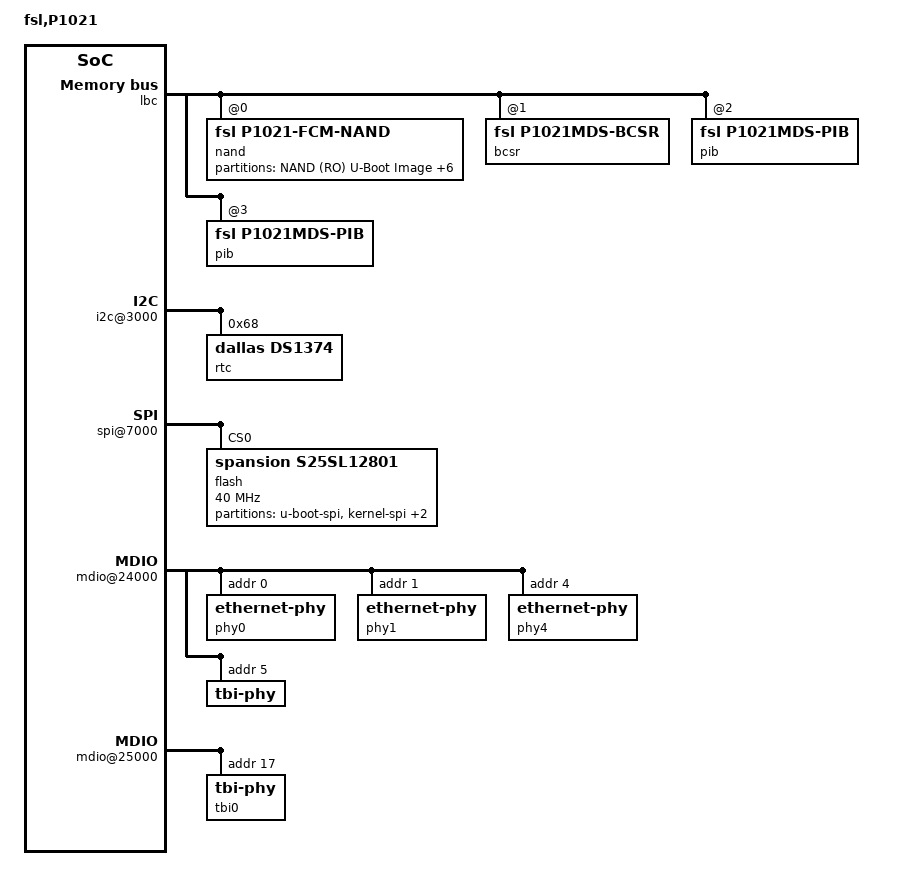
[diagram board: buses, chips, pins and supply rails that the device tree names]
/*
 * P1021 MDS Device Tree Source
 *
 * Copyright 2010,2012 Freescale Semiconductor Inc.
 *
 * This program is free software; you can redistribute it and/or modify it
 * under the terms of the GNU General Public License as published by the
 * Free Software Foundation; either version 2 of the License, or (at your
 * option) any later version.
 */

/include/ "fsl/p1021si-pre.dtsi"
/ {
	model = "fsl,P1021";
	compatible = "fsl,P1021MDS";

	aliases {
		ethernet3 = &enet3;
		ethernet4 = &enet4;
	};

	memory {
		device_type = "memory";
	};

	lbc: localbus@ffe05000 {
		reg = <0x0 0xffe05000 0x0 0x1000>;

		/* NAND Flash, BCSR, PMC0/1*/
		ranges = <0x0 0x0 0x0 0xfc000000 0x02000000
			  0x1 0x0 0x0 0xf8000000 0x00008000
			  0x2 0x0 0x0 0xf8010000 0x00020000
			  0x3 0x0 0x0 0xf8020000 0x00020000>;

		nand@0,0 {
			#address-cells = <1>;
			#size-cells = <1>;
			compatible = "fsl,p1021-fcm-nand",
				     "fsl,elbc-fcm-nand";
			reg = <0x0 0x0 0x40000>;

			partition@0 {
				/* This location must not be altered  */
				/* 1MB for u-boot Bootloader Image */
				reg = <0x0 0x00100000>;
				label = "NAND (RO) U-Boot Image";
				read-only;
			};

			partition@100000 {
				/* 1MB for DTB Image */
				reg = <0x00100000 0x00100000>;
				label = "NAND (RO) DTB Image";
				read-only;
			};

			partition@200000 {
				/* 4MB for Linux Kernel Image */
				reg = <0x00200000 0x00400000>;
				label = "NAND (RO) Linux Kernel Image";
				read-only;
			};

			partition@600000 {
				/* 5MB for Compressed Root file System Image */
				reg = <0x00600000 0x00500000>;
				label = "NAND (RO) Compressed RFS Image";
				read-only;
			};

			partition@b00000 {
				/* 6MB for JFFS2 based Root file System */
				reg = <0x00a00000 0x00600000>;
				label = "NAND (RW) JFFS2 Root File System";
			};

			partition@1100000 {
				/* 14MB for JFFS2 based Root file System */
				reg = <0x01100000 0x00e00000>;
				label = "NAND (RW) Writable User area";
			};

			partition@1f00000 {
				/* 1MB for microcode */
				reg = <0x01f00000 0x00100000>;
				label = "NAND (RO) QE Ucode";
				read-only;
			};
		};

		bcsr@1,0 {
			#address-cells = <1>;
			#size-cells = <1>;
			compatible = "fsl,p1021mds-bcsr";
			reg = <1 0 0x8000>;
			ranges = <0 1 0 0x8000>;
		};

		pib@2,0 {
			compatible = "fsl,p1021mds-pib";
			reg = <2 0 0x10000>;
		};

		pib@3,0 {
			compatible = "fsl,p1021mds-pib";
			reg = <3 0 0x10000>;
		};
	};

	soc: soc@ffe00000 {
		compatible = "fsl,p1021-immr", "simple-bus";
		ranges = <0x0 0x0 0xffe00000 0x100000>;

		i2c@3000 {
			rtc@68 {
				compatible = "dallas,ds1374";
				reg = <0x68>;
			};
		};

		spi@7000 {

			flash@0 {
				#address-cells = <1>;
				#size-cells = <1>;
				compatible = "spansion,s25sl12801";
				reg = <0>;
				spi-max-frequency = <40000000>; /* input clock */

				partition@u-boot {
					label = "u-boot-spi";
					reg = <0x00000000 0x00100000>;
					read-only;
				};
				partition@kernel {
					label = "kernel-spi";
					reg = <0x00100000 0x00500000>;
					read-only;
				};
				partition@dtb {
					label = "dtb-spi";
					reg = <0x00600000 0x00100000>;
					read-only;
				};
				partition@fs {
					label = "file system-spi";
					reg = <0x00700000 0x00900000>;
				};
			};
		};

		usb@22000 {
			phy_type = "ulpi";
			dr_mode = "host";
		};

		mdio@24000 {
			phy0: ethernet-phy@0 {
				interrupts = <1 1 0 0>;
				reg = <0x0>;
			};
			phy1: ethernet-phy@1 {
				interrupts = <2 1 0 0>;
				reg = <0x1>;
			};
			phy4: ethernet-phy@4 {
				reg = <0x4>;
			};
			tbi-phy@5 {
				device_type = "tbi-phy";
				reg = <0x5>;
			};
		};

		mdio@25000 {
			tbi0: tbi-phy@11 {
				reg = <0x11>;
				device_type = "tbi-phy";
			};
		};

		ethernet@b0000 {
			phy-handle = <&phy0>;
			phy-connection-type = "rgmii-id";
		};

		ethernet@b1000 {
			phy-handle = <&phy4>;
			tbi-handle = <&tbi0>;
			phy-connection-type = "sgmii";
		};

		ethernet@b2000 {
			phy-handle = <&phy1>;
			phy-connection-type = "rgmii-id";
		};

		par_io@e0100 {
			#address-cells = <1>;
			#size-cells = <1>;
			reg = <0xe0100 0x60>;
			ranges = <0x0 0xe0100 0x60>;
			device_type = "par_io";
			num-ports = <3>;
			pio1: ucc_pin@01 {
				pio-map = <
			/* port  pin  dir  open_drain  assignment  has_irq */
					0x1  0x13 0x1  0x0  0x1  0x0    /* QE_MUX_MDC */
					0x1  0x14 0x3  0x0  0x1  0x0    /* QE_MUX_MDIO */
					0x0  0x17 0x2  0x0  0x2  0x0    /* CLK12 */
					0x0  0x18 0x2  0x0  0x1  0x0    /* CLK9 */
					0x0  0x7  0x1  0x0  0x2  0x0    /* ENET1_TXD0_SER1_TXD0 */
					0x0  0x9  0x1  0x0  0x2  0x0    /* ENET1_TXD1_SER1_TXD1 */
					0x0  0xb  0x1  0x0  0x2  0x0    /* ENET1_TXD2_SER1_TXD2 */
					0x0  0xc  0x1  0x0  0x2  0x0    /* ENET1_TXD3_SER1_TXD3 */
					0x0  0x6  0x2  0x0  0x2  0x0    /* ENET1_RXD0_SER1_RXD0 */
					0x0  0xa  0x2  0x0  0x2  0x0    /* ENET1_RXD1_SER1_RXD1 */
					0x0  0xe  0x2  0x0  0x2  0x0    /* ENET1_RXD2_SER1_RXD2 */
					0x0  0xf  0x2  0x0  0x2  0x0    /* ENET1_RXD3_SER1_RXD3 */
					0x0  0x5  0x1  0x0  0x2  0x0    /* ENET1_TX_EN_SER1_RTS_B */
					0x0  0xd  0x1  0x0  0x2  0x0    /* ENET1_TX_ER */
					0x0  0x4  0x2  0x0  0x2  0x0    /* ENET1_RX_DV_SER1_CTS_B */
					0x0  0x8  0x2  0x0  0x2  0x0    /* ENET1_RX_ER_SER1_CD_B */
					0x0  0x11 0x2  0x0  0x2  0x0    /* ENET1_CRS */
					0x0  0x10 0x2  0x0  0x2  0x0>;    /* ENET1_COL */
			};

			pio2: ucc_pin@02 {
				pio-map = <
			/* port  pin  dir  open_drain  assignment  has_irq */
					0x1  0x13 0x1  0x0  0x1  0x0    /* QE_MUX_MDC */
					0x1  0x14 0x3  0x0  0x1  0x0    /* QE_MUX_MDIO */
					0x1  0xb  0x2  0x0  0x1  0x0    /* CLK13 */
					0x1  0x7  0x1  0x0  0x2  0x0    /* ENET5_TXD0_SER5_TXD0 */
					0x1  0xa  0x1  0x0  0x2  0x0    /* ENET5_TXD1_SER5_TXD1 */
					0x1  0x6  0x2  0x0  0x2  0x0    /* ENET5_RXD0_SER5_RXD0 */
					0x1  0x9  0x2  0x0  0x2  0x0    /* ENET5_RXD1_SER5_RXD1 */
					0x1  0x5  0x1  0x0  0x2  0x0    /* ENET5_TX_EN_SER5_RTS_B */
					0x1  0x4  0x2  0x0  0x2  0x0    /* ENET5_RX_DV_SER5_CTS_B */
					0x1  0x8  0x2  0x0  0x2  0x0>;    /* ENET5_RX_ER_SER5_CD_B */
			};
		};
	};

	pci0: pcie@ffe09000 {
		reg = <0 0xffe09000 0 0x1000>;
		ranges = <0x2000000 0x0 0xa0000000 0 0xa0000000 0x0 0x20000000
			  0x1000000 0x0 0x00000000 0 0xffc10000 0x0 0x10000>;
		pcie@0 {
			ranges = <0x2000000 0x0 0xa0000000
				  0x2000000 0x0 0xa0000000
				  0x0 0x20000000

				  0x1000000 0x0 0x0
				  0x1000000 0x0 0x0
				  0x0 0x100000>;
		};
	};

	pci1: pcie@ffe0a000 {
		reg = <0 0xffe0a000 0 0x1000>;
		ranges = <0x2000000 0x0 0xc0000000 0 0xc0000000 0x0 0x20000000
			  0x1000000 0x0 0x00000000 0 0xffc20000 0x0 0x10000>;
		pcie@0 {
			ranges = <0x2000000 0x0 0xc0000000
				  0x2000000 0x0 0xc0000000
				  0x0 0x20000000

				  0x1000000 0x0 0x0
				  0x1000000 0x0 0x0
				  0x0 0x100000>;
		};
	};

	qe: qe@ffe80000 {
		ranges = <0x0 0x0 0xffe80000 0x40000>;
		reg = <0 0xffe80000 0 0x480>;
		brg-frequency = <0>;
		bus-frequency = <0>;
		status = "disabled"; /* no firmware loaded */

		enet3: ucc@2000 {
			device_type = "network";
			compatible = "ucc_geth";
			local-mac-address = [ 00 00 00 00 00 00 ];
			rx-clock-name = "clk12";
			tx-clock-name = "clk9";
			pio-handle = <&pio1>;
			phy-handle = <&qe_phy0>;
			phy-connection-type = "mii";
		};

		mdio@2120 {
			qe_phy0: ethernet-phy@0 {
				interrupt-parent = <&mpic>;
				interrupts = <4 1 0 0>;
				reg = <0x0>;
				device_type = "ethernet-phy";
			};
			qe_phy1: ethernet-phy@03 {
				interrupt-parent = <&mpic>;
				interrupts = <5 1 0 0>;
				reg = <0x3>;
				device_type = "ethernet-phy";
			};
			tbi-phy@11 {
				reg = <0x11>;
				device_type = "tbi-phy";
			};
		};

		enet4: ucc@2400 {
			device_type = "network";
			compatible = "ucc_geth";
			local-mac-address = [ 00 00 00 00 00 00 ];
			rx-clock-name = "none";
			tx-clock-name = "clk13";
			pio-handle = <&pio2>;
			phy-handle = <&qe_phy1>;
			phy-connection-type = "rmii";
		};
	};
};

/include/ "fsl/p1021si-post.dtsi"
